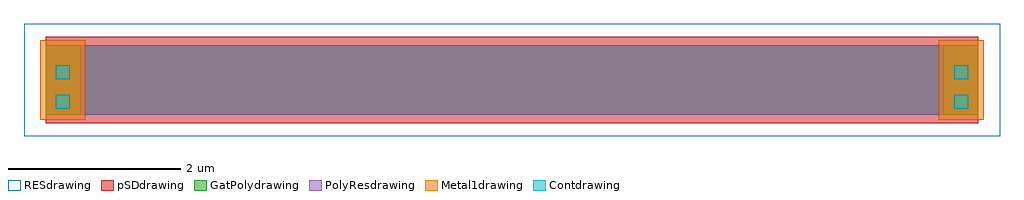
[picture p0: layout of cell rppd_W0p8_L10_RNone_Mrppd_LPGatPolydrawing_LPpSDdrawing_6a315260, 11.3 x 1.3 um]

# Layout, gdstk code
import gdstk
lib = gdstk.Library(unit=1e-6, precision=1e-09)
def R(c, l, rs):  # rectangles x0, y0, x1, y1
    for r in rs: c.add(gdstk.rectangle(r[:2], r[2:], *l))
GatPolydrawing = (5, 0)
Contdrawing = (6, 0)
Metal1drawing = (8, 0)
pSDdrawing = (14, 0)
RESdrawing = (24, 0)
PolyResdrawing = (128, 0)

rectangle_gdsfactorypcom = lib.new_cell('rectangle_gdsfactorypcomponentspshapesprectangle_S10_0p_e1a92f5e')
R(rectangle_gdsfactorypcom, GatPolydrawing, [(-5,-0.4,5,0.4)])

c_rectangle_gdsfactorypcom = lib.new_cell('rectangle_gdsfactorypcomponentspshapesprectangle_S10p8__dfd3f617')
R(c_rectangle_gdsfactorypcom, pSDdrawing, [(-5.4,-0.5,5.4,0.5)])

c_rectangle_gdsfactorypcom_ = lib.new_cell('rectangle_gdsfactorypcomponentspshapesprectangle_S10_0p_394aa2b6')
R(c_rectangle_gdsfactorypcom_, PolyResdrawing, [(-5,-0.4,5,0.4)])

c_rectangle_gdsfactorypcom__ = lib.new_cell('rectangle_gdsfactorypcomponentspshapesprectangle_S0p4_0_ec7f8843')
R(c_rectangle_gdsfactorypcom__, GatPolydrawing, [(0,0,0.4,0.8)])

c_rectangle_gdsfactorypcom___ = lib.new_cell('rectangle_gdsfactorypcomponentspshapesprectangle_S0p16__bf15bdcd')
R(c_rectangle_gdsfactorypcom___, Contdrawing, [(0,0,0.16,0.16)])

c_rectangle_gdsfactorypcom____ = lib.new_cell('rectangle_gdsfactorypcomponentspshapesprectangle_S0p52__17e781bd')
R(c_rectangle_gdsfactorypcom____, Metal1drawing, [(0,0,0.52,0.92)])

c_rectangle_gdsfactorypcom_____ = lib.new_cell('rectangle_gdsfactorypcomponentspshapesprectangle_S11p3__ec20db0c')
R(c_rectangle_gdsfactorypcom_____, RESdrawing, [(-5.65,-0.65,5.65,0.65)])

rppd_w0p8_l10_rnone_mrpp = lib.new_cell('rppd_W0p8_L10_RNone_Mrppd_LPGatPolydrawing_LPpSDdrawing_6a315260')
rppd_w0p8_l10_rnone_mrpp.add(gdstk.Reference(rectangle_gdsfactorypcom, (0,0)))
rppd_w0p8_l10_rnone_mrpp.add(gdstk.Reference(c_rectangle_gdsfactorypcom, (0,0)))
rppd_w0p8_l10_rnone_mrpp.add(gdstk.Reference(c_rectangle_gdsfactorypcom_, (0,0)))
rppd_w0p8_l10_rnone_mrpp.add(gdstk.Reference(c_rectangle_gdsfactorypcom__, (-5.4,-0.4)))
rppd_w0p8_l10_rnone_mrpp.add(gdstk.Reference(c_rectangle_gdsfactorypcom__, (5,-0.4)))
rppd_w0p8_l10_rnone_mrpp.add(gdstk.Reference(c_rectangle_gdsfactorypcom___, (-5.28,-0.33)))
rppd_w0p8_l10_rnone_mrpp.add(gdstk.Reference(c_rectangle_gdsfactorypcom___, (5.12,-0.33)))
rppd_w0p8_l10_rnone_mrpp.add(gdstk.Reference(c_rectangle_gdsfactorypcom___, (-5.28,0.01)))
rppd_w0p8_l10_rnone_mrpp.add(gdstk.Reference(c_rectangle_gdsfactorypcom___, (5.12,0.01)))
rppd_w0p8_l10_rnone_mrpp.add(gdstk.Reference(c_rectangle_gdsfactorypcom____, (-5.46,-0.46)))
rppd_w0p8_l10_rnone_mrpp.add(gdstk.Reference(c_rectangle_gdsfactorypcom____, (4.94,-0.46)))
rppd_w0p8_l10_rnone_mrpp.add(gdstk.Reference(c_rectangle_gdsfactorypcom_____, (0,0)))

lib.write_gds('rppd_W0p8_L10_RNone_Mrppd_LPGatPolydrawing_LPpSDdrawing_6a315260.gds')
